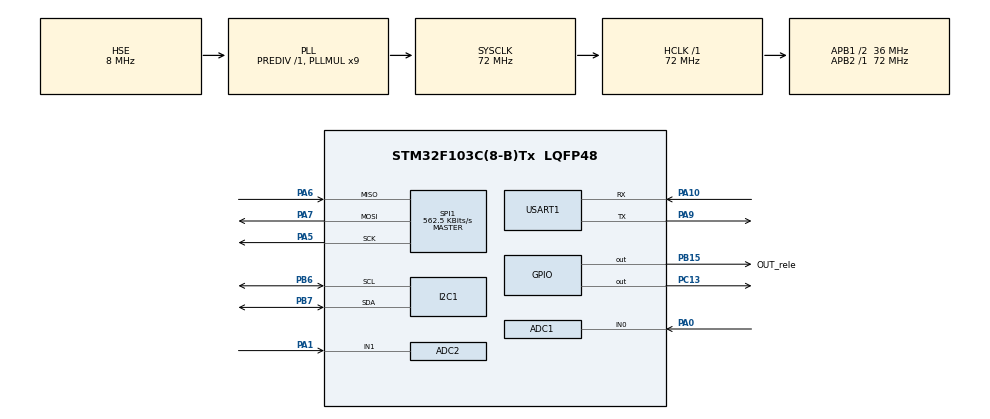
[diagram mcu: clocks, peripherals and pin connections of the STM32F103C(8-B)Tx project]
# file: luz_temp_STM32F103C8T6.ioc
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ADC1.Channel-0\#ChannelRegularConversion=ADC_CHANNEL_0
ADC1.ContinuousConvMode=ENABLE
ADC1.NbrOfConversionFlag=1
ADC1.Rank-0\#ChannelRegularConversion=1
ADC1.SamplingTime-0\#ChannelRegularConversion=ADC_SAMPLETIME_1CYCLE_5
ADC1.master=1
ADC2.Channel-1\#ChannelRegularConversion=ADC_CHANNEL_1
ADC2.ContinuousConvMode=ENABLE
ADC2.NbrOfConversionFlag=1
ADC2.Rank-1\#ChannelRegularConversion=1
ADC2.SamplingTime-1\#ChannelRegularConversion=ADC_SAMPLETIME_1CYCLE_5
I2C1.I2C_Mode=I2C_Fast
IWDG.Prescaler=IWDG_PRESCALER_16
Mcu.Family=STM32F1
Mcu.Name=STM32F103C(8-B)Tx
Mcu.Package=LQFP48
NVIC.PriorityGroup=NVIC_PRIORITYGROUP_4
NVIC.TIM2_IRQn=true\:0\:0\:false\:false\:true\:true\:true\:true
NVIC.USART1_IRQn=true\:0\:0\:false\:false\:true\:true\:true\:true
PA0-WKUP.Signal=ADCx_IN0
PA1.Signal=ADCx_IN1
PA10.Mode=Asynchronous
PA10.Signal=USART1_RX
PA13.Mode=Serial_Wire
PA13.Signal=SYS_JTMS-SWDIO
PA14.Mode=Serial_Wire
PA14.Signal=SYS_JTCK-SWCLK
PA5.Mode=Full_Duplex_Master
PA5.Signal=SPI1_SCK
PA6.Mode=Full_Duplex_Master
PA6.Signal=SPI1_MISO
PA7.Mode=Full_Duplex_Master
PA7.Signal=SPI1_MOSI
PA9.Mode=Asynchronous
PA9.Signal=USART1_TX
PB15.GPIO_Label=OUT_rele
PB15.GPIO_ModeDefaultOutputPP=GPIO_MODE_OUTPUT_PP
PB15.GPIO_PuPd=GPIO_NOPULL
PB15.Signal=GPIO_Output
PB6.Mode=I2C
PB6.Signal=I2C1_SCL
PB7.Mode=I2C
PB7.Signal=I2C1_SDA
PC13-TAMPER-RTC.GPIO_ModeDefaultOutputPP=GPIO_MODE_OUTPUT_PP
PC13-TAMPER-RTC.GPIO_PuPd=GPIO_NOPULL
PC13-TAMPER-RTC.Signal=GPIO_Output
PC14-OSC32_IN.Mode=LSE-External-Oscillator
PC14-OSC32_IN.Signal=RCC_OSC32_IN
PC15-OSC32_OUT.Mode=LSE-External-Oscillator
PC15-OSC32_OUT.Signal=RCC_OSC32_OUT
PD0-OSC_IN.Mode=HSE-External-Oscillator
PD0-OSC_IN.Signal=RCC_OSC_IN
PD1-OSC_OUT.Mode=HSE-External-Oscillator
PD1-OSC_OUT.Signal=RCC_OSC_OUT
ProjectManager.HeapSize=0x200
ProjectManager.StackSize=0x400
ProjectManager.TargetToolchain=STM32CubeIDE
RCC.ADCPresc=RCC_ADCPCLK2_DIV6
RCC.AHBFreq_Value=72000000
RCC.APB1CLKDivider=RCC_HCLK_DIV2
RCC.APB1Freq_Value=36000000
RCC.APB1TimFreq_Value=72000000
RCC.APB2Freq_Value=72000000
RCC.APB2TimFreq_Value=72000000
RCC.HCLKFreq_Value=72000000
RCC.PLLMUL=RCC_PLL_MUL9
RCC.PLLSourceVirtual=RCC_PLLSOURCE_HSE
RCC.RTCClockSelection=RCC_RTCCLKSOURCE_LSE
RCC.SYSCLKFreq_VALUE=72000000
RCC.SYSCLKSource=RCC_SYSCLKSOURCE_PLLCLK
RCC.USBFreq_Value=72000000
SH.ADCx_IN0.0=ADC1_IN0,IN0
SH.ADCx_IN1.0=ADC2_IN1,IN1
SPI1.BaudRatePrescaler=SPI_BAUDRATEPRESCALER_128
SPI1.CalculateBaudRate=562.5 KBits/s
SPI1.Direction=SPI_DIRECTION_2LINES
SPI1.Mode=SPI_MODE_MASTER
SPI1.VirtualType=VM_MASTER
TIM2.Period=1000-1
TIM2.Prescaler=720-1
USART1.VirtualMode=VM_ASYNC
VP_IWDG_VS_IWDG.Mode=IWDG_Activate
VP_RTC_No_RTC_Output.Mode=RTC_OUT_NO
VP_RTC_VS_RTC_Activate.Mode=RTC_Enabled
VP_RTC_VS_RTC_Calendar.Mode=RTC_Calendar
VP_TIM2_VS_ClockSourceINT.Mode=Internal
board=custom

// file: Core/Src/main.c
/* USER CODE BEGIN Header */
/**
  ******************************************************************************
  * @file           : main.c
  * @brief          : Main program body
  ******************************************************************************
  * @attention
  *
  * Copyright (c) 2023 STMicroelectronics.
  * All rights reserved.
  *
  * This software is licensed under terms that can be found in the LICENSE file
  * in the root directory of this software component.
  * If no LICENSE file comes with this software, it is provided AS-IS.
  *
  ******************************************************************************
  */
/* USER CODE END Header */
#include "main.h"
#include "adc.h"
#include "i2c.h"
#include "iwdg.h"
#include "rtc.h"
#include "spi.h"
#include "tim.h"
#include "usart.h"
#include "gpio.h"

/* USER CODE BEGIN Includes */
#include "lcd_i2c_lfs.h"
#include "IOport_lfs.h"
#include "menuPantallas.h"
#include "funciones_domotica.h"
#include "24lc256_lfs.h"
#include "hora_tablero.h"
/* USER CODE END Includes */

/* USER CODE BEGIN PD */
#define IWD_OFF
/* USER CODE END PD */

/* USER CODE BEGIN PV */
uint8_t flag_tim2 = 0; //cada 10 ms
uint8_t periodo_IOport = 1; //cada 20 ms
uint8_t periodo_temp = 99; //cada 1 segundo
uint8_t resets = 0;
//variables de prueba
uint8_t varTest;
uint8_t periodo_test = 24; //cada 250 ms
uint8_t max_periodoTest = 24; //49;
uint8_t dirI2C;
/* USER CODE END PV */

void SystemClock_Config(void);

int main(void)
{

  /* MCU Configuration--------------------------------------------------------*/

  /* Reset of all peripherals, Initializes the Flash interface and the Systick. */
  HAL_Init();

  /* Configure the system clock */
  SystemClock_Config();

  /* Initialize all configured peripherals */
  MX_GPIO_Init();
  MX_ADC1_Init();
  MX_ADC2_Init();
  MX_I2C1_Init();
  MX_SPI1_Init();
  MX_TIM2_Init();
  MX_USART1_UART_Init();
  MX_IWDG_Init();
  MX_RTC_Init();
  /* USER CODE BEGIN 2 */
  HAL_Delay(150);
  HAL_GPIO_WritePin(GPIOC, GPIO_PIN_13, 1);
  HAL_TIM_Base_Start_IT(&htim2);
  HAL_ADC_Start(&hadc1);

//  uint8_t fff = sizeof (RTC_TimeTypeDef); //3 bytes
//  __NOP();
//  fff = sizeof (RTC_DateTypeDef); //4 bytes
//  __NOP();

  HAL_StatusTypeDef i2c_status;

  for (dirI2C = 0; dirI2C < 128; dirI2C++){
	  i2c_status = HAL_I2C_IsDeviceReady(&hi2c1, (uint16_t)(dirI2C<<1), 1, 10);
	  if(i2c_status == HAL_OK){
		  __NOP();
	  }
  }

//  while (1){
//	  varTest = !varTest;
//	  HAL_GPIO_WritePin(GPIOC, GPIO_PIN_13, varTest);
//	  HAL_GPIO_WritePin(OUT_rele_GPIO_Port, OUT_rele_Pin, varTest);
////	  HAL_GPIO_WritePin(GPIOB, GPIO_PIN_12, varTest);
////	  HAL_GPIO_TogglePin(GPIOC, GPIO_PIN_13);
////	  HAL_GPIO_TogglePin(OUT_rele_GPIO_Port, OUT_rele_Pin);
//	  HAL_Delay(500);
//	  __HAL_IWDG_RELOAD_COUNTER(&hiwdg);
//  }

  HAL_I2C_Mem_Read(&hi2c1, 0x50<<1, OFFSET_RESETS, I2C_MEMADD_SIZE_16BIT, &resets, 1, 100);
  resets++;
  HAL_I2C_Mem_Write(&hi2c1, 0x50<<1, OFFSET_RESETS, I2C_MEMADD_SIZE_16BIT, &resets, 1, 100);
#ifndef IWD_OFF
  MX_IWDG_Init();
  __HAL_IWDG_RELOAD_COUNTER(&hiwdg);
#endif
  lcd_init(&hi2c1, 0x3F); //0x27
//  lcd_send_string("holis");
  init_botonera(&hi2c1, 0x38); //0x20
  init_sensores(&hadc1);
  start_menu(0);
#ifndef IWD_OFF
  __HAL_IWDG_RELOAD_COUNTER(&hiwdg);
#endif
  /* USER CODE END 2 */

  /* Infinite loop */
  /* USER CODE BEGIN WHILE */
  while (1)
  {
	  if (flag_tim2 != 0){

		  if (periodo_IOport != 0){
			  periodo_IOport--;
		  }else{
			  lecturaTeclas(); //cada 20 ms.
			  update_outputs(); //cada 20 ms.
			  periodo_IOport = 1;
		  } //fin if periodo_IOport

		  if (periodo_temp != 0){
			  periodo_temp--;
		  }else{
			  update_DHT();
			  update_ldr();
			  refresh_infoDHT();
			  periodo_temp = 99;
		  }

//		  if (periodo_test != 0){
//			  periodo_test--;
//		  }else{
//			  varTest = !varTest;
//			  HAL_GPIO_WritePin(GPIOC, GPIO_PIN_13, varTest);
////			  HAL_GPIO_WritePin(OUT_rele_GPIO_Port, OUT_rele_Pin, varTest);
//			  periodo_test = max_periodoTest; //cada 250 ms o 500 ms
//		  }

		  timeoutMenu();
		  check_duracionPulsadores();
//		  timeoutTestAuto();
		  timeoutGrabaSinc();

		  flag_tim2 = 0;
	  } //fin if flag_tim2

	  check_menu();
	  check_luzAuto();
	  update_teclas();
#ifndef IWD_OFF
	  __HAL_IWDG_RELOAD_COUNTER(&hiwdg);
#endif
    /* USER CODE END WHILE */

  }
}

void SystemClock_Config(void)
{
  RCC_OscInitTypeDef RCC_OscInitStruct = {0};
  RCC_ClkInitTypeDef RCC_ClkInitStruct = {0};
  RCC_PeriphCLKInitTypeDef PeriphClkInit = {0};

  /** Initializes the RCC Oscillators according to the specified parameters
  * in the RCC_OscInitTypeDef structure.
  */
  RCC_OscInitStruct.OscillatorType = RCC_OSCILLATORTYPE_LSI|RCC_OSCILLATORTYPE_HSE
                              |RCC_OSCILLATORTYPE_LSE;
  RCC_OscInitStruct.HSEState = RCC_HSE_ON;
  RCC_OscInitStruct.HSEPredivValue = RCC_HSE_PREDIV_DIV1;
  RCC_OscInitStruct.LSEState = RCC_LSE_ON;
  RCC_OscInitStruct.HSIState = RCC_HSI_ON;
  RCC_OscInitStruct.LSIState = RCC_LSI_ON;
  RCC_OscInitStruct.PLL.PLLState = RCC_PLL_ON;
  RCC_OscInitStruct.PLL.PLLSource = RCC_PLLSOURCE_HSE;
  RCC_OscInitStruct.PLL.PLLMUL = RCC_PLL_MUL9;
  if (HAL_RCC_OscConfig(&RCC_OscInitStruct) != HAL_OK)
  {
    Error_Handler();
  }

  /** Initializes the CPU, AHB and APB buses clocks
  */
  RCC_ClkInitStruct.ClockType = RCC_CLOCKTYPE_HCLK|RCC_CLOCKTYPE_SYSCLK
                              |RCC_CLOCKTYPE_PCLK1|RCC_CLOCKTYPE_PCLK2;
  RCC_ClkInitStruct.SYSCLKSource = RCC_SYSCLKSOURCE_PLLCLK;
  RCC_ClkInitStruct.AHBCLKDivider = RCC_SYSCLK_DIV1;
  RCC_ClkInitStruct.APB1CLKDivider = RCC_HCLK_DIV2;
  RCC_ClkInitStruct.APB2CLKDivider = RCC_HCLK_DIV1;

  if (HAL_RCC_ClockConfig(&RCC_ClkInitStruct, FLASH_LATENCY_2) != HAL_OK)
  {
    Error_Handler();
  }
  PeriphClkInit.PeriphClockSelection = RCC_PERIPHCLK_RTC|RCC_PERIPHCLK_ADC;
  PeriphClkInit.RTCClockSelection = RCC_RTCCLKSOURCE_LSE;
  PeriphClkInit.AdcClockSelection = RCC_ADCPCLK2_DIV6;
  if (HAL_RCCEx_PeriphCLKConfig(&PeriphClkInit) != HAL_OK)
  {
    Error_Handler();
  }
}

/* USER CODE BEGIN 4 */
void HAL_TIM_PeriodElapsedCallback(TIM_HandleTypeDef *htim){
	if (htim->Instance == TIM2){
		flag_tim2 = 1;
	}
} //fin HAL_TIM_PeriodElapsedCallback()

/* USER CODE END 4 */

void Error_Handler(void)
{
  __disable_irq();
  while (1)
  {
  }
}
